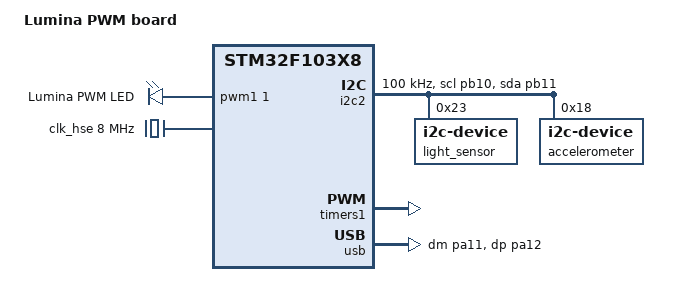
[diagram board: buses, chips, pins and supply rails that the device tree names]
/*
 * SPDX-License-Identifier: Apache-2.0
 */

/dts-v1/;
#include <st/f1/stm32f103X8.dtsi>
#include <st/f1/stm32f103c(8-b)tx-pinctrl.dtsi>
#include <zephyr/dt-bindings/pwm/pwm.h>

/ {
	model = "Lumina PWM board";
	compatible = "hxzp,lumina-pwm";

	chosen {
		zephyr,sram = &sram0;
		zephyr,flash = &flash0;
		zephyr,console = &cdc_acm_uart0;
		zephyr,shell-uart = &cdc_acm_uart0;
	};

	pwmleds {
		compatible = "pwm-leds";

		user_pwm_led: led_0 {
			pwms = <&pwm1 1 PWM_USEC(1000) PWM_POLARITY_NORMAL>;
			label = "Lumina PWM LED";
		};
	};

	aliases {
		led0 = &user_pwm_led;
		pwm-led0 = &user_pwm_led;
	};
};

&clk_hse {
	clock-frequency = <DT_FREQ_M(8)>;
	status = "okay";
};

&clk_lsi {
	status = "okay";
};

&pll {
	mul = <9>;
	clocks = <&clk_hse>;
	status = "okay";
};

&rcc {
	compatible = "st,stm32f1-rcc", "st,stm32-rcc";
	clocks = <&pll>;
	clock-frequency = <DT_FREQ_M(72)>;
	ahb-prescaler = <1>;
	apb1-prescaler = <2>;
	apb2-prescaler = <1>;
	adc-prescaler = <6>;
};

&i2c2 {
	pinctrl-0 = <&i2c2_scl_pb10 &i2c2_sda_pb11>;
	pinctrl-names = "default";
	clock-frequency = <I2C_BITRATE_STANDARD>;
	status = "okay";

	light_sensor: light-sensor@23 {
		compatible = "zephyr,i2c-device";
		reg = <0x23>;
	};

	accelerometer: accelerometer@18 {
		compatible = "zephyr,i2c-device";
		reg = <0x18>;
	};
};

&timers1 {
	st,prescaler = <1000>;
	status = "okay";

	pwm1: pwm {
		status = "okay";
		pinctrl-0 = <&tim1_ch1_pwm_out_pa8>;
		pinctrl-names = "default";
	};
};

zephyr_udc0: &usb {
	pinctrl-0 = <&usb_dm_pa11 &usb_dp_pa12>;
	pinctrl-names = "default";
	status = "okay";

	cdc_acm_uart0: cdc_acm_uart0 {
		compatible = "zephyr,cdc-acm-uart";
		label = "Lumina USB CDC ACM";
	};
};
